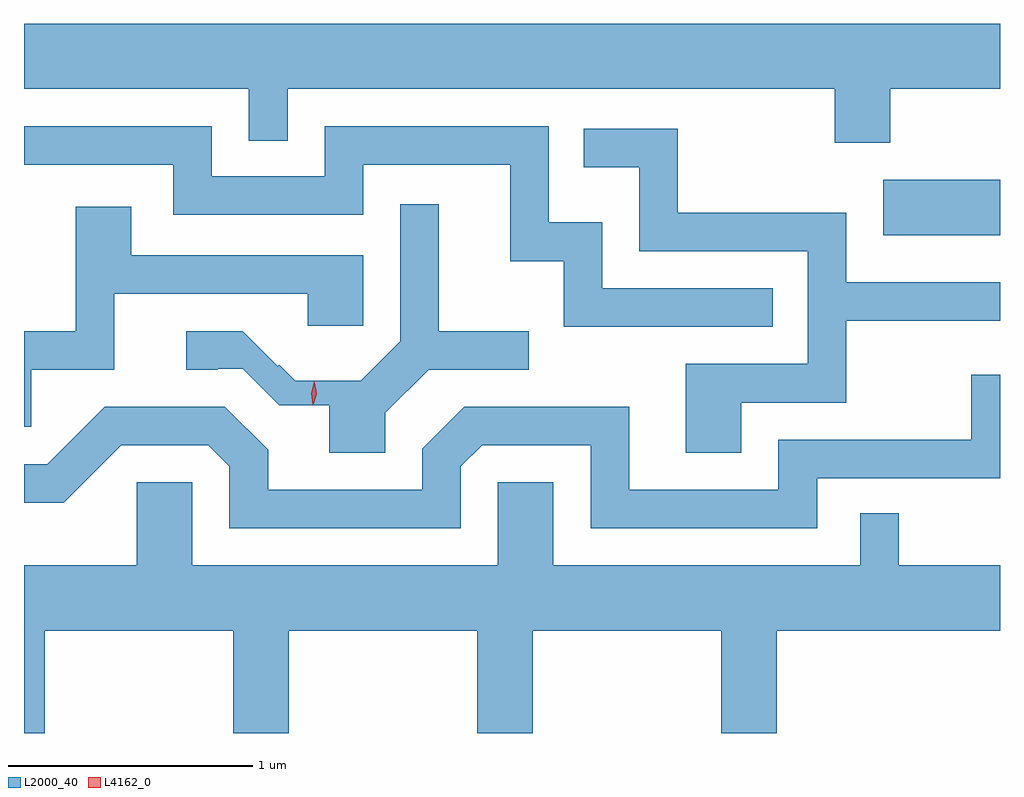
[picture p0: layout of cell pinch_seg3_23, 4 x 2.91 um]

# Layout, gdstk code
import gdstk
lib = gdstk.Library(unit=1e-6, precision=1e-09)
def R(c, l, rs):  # rectangles x0, y0, x1, y1
    for r in rs: c.add(gdstk.rectangle(r[:2], r[2:], *l))
def P(c, l, *ps):  # polygons
    for p in ps: c.add(gdstk.Polygon(p, *l))
L2000_40 = (2000, 40)
L4162_0 = (4162, 0)

pinch_seg3_23 = lib.new_cell('pinch_seg3_23')
R(pinch_seg3_23, L2000_40, [(1899.411,1200.896,1899.889,1201.124)])
P(pinch_seg3_23, L2000_40, [(1899.439,1201.496),(1899.889,1201.496),(1899.889,1201.764),(1895.889,1201.764),(1895.889,1201.496),(1896.811,1201.496),(1896.811,1201.283),(1896.969,1201.283),(1896.969,1201.496),(1899.211,1201.496),(1899.211,1201.276),(1899.439,1201.276)],
  [(1898.958,1200.679),(1898.259,1200.679),(1898.259,1200.949),(1898.039,1200.949),(1898.039,1201.344),(1897.121,1201.344),(1897.121,1201.139),(1896.659,1201.139),(1896.659,1201.344),(1895.889,1201.344),(1895.889,1201.186),(1896.501,1201.186),(1896.501,1200.981),(1897.279,1200.981),(1897.279,1201.186),(1897.881,1201.186),(1897.881,1200.791),(1898.101,1200.791),(1898.101,1200.521),(1898.958,1200.521)],
  [(1898.829,1200.211),(1899.259,1200.211),(1899.259,1200.546),(1899.889,1200.546),(1899.889,1200.704),(1899.259,1200.704),(1899.259,1200.989),(1898.569,1200.989),(1898.569,1201.334),(1898.183,1201.334),(1898.183,1201.176),(1898.411,1201.176),(1898.411,1200.831),(1899.101,1200.831),(1899.101,1200.369),(1898.601,1200.369),(1898.601,1200.006),(1898.829,1200.006)],
  [(1897.369,1200.169),(1897.547,1200.346),(1897.958,1200.346),(1897.958,1200.504),(1897.589,1200.504),(1897.589,1201.023),(1897.431,1201.023),(1897.431,1200.462),(1897.269,1200.3),(1897.001,1200.3),(1896.935,1200.366),(1896.929,1200.36),(1896.785,1200.504),(1896.553,1200.504),(1896.553,1200.346),(1896.683,1200.346),(1896.683,1200.35),(1896.785,1200.35),(1896.935,1200.2),(1897.141,1200.2),(1897.141,1200.006),(1897.369,1200.006)],
  [(1895.919,1200.346),(1896.259,1200.346),(1896.259,1200.656),(1897.051,1200.656),(1897.051,1200.526),(1897.279,1200.526),(1897.279,1200.814),(1896.329,1200.814),(1896.329,1201.014),(1896.101,1201.014),(1896.101,1200.504),(1895.889,1200.504),(1895.889,1200.111),(1895.919,1200.111)],
  [(1897.679,1199.949),(1897.767,1200.036),(1898.211,1200.036),(1898.211,1199.696),(1899.139,1199.696),(1899.139,1199.901),(1899.889,1199.901),(1899.889,1200.324),(1899.771,1200.324),(1899.771,1200.059),(1898.981,1200.059),(1898.981,1199.854),(1898.369,1199.854),(1898.369,1200.194),(1897.694,1200.194),(1897.521,1200.022),(1897.521,1199.854),(1896.889,1199.854),(1896.889,1200.017),(1896.712,1200.194),(1896.219,1200.194),(1895.984,1199.959),(1895.889,1199.959),(1895.889,1199.801),(1896.052,1199.801),(1896.287,1200.036),(1896.644,1200.036),(1896.731,1199.949),(1896.731,1199.696),(1897.679,1199.696)],
  [(1895.974,1199.276),(1896.746,1199.276),(1896.746,1198.855),(1896.974,1198.855),(1896.974,1199.276),(1897.746,1199.276),(1897.746,1198.855),(1897.974,1198.855),(1897.974,1199.276),(1898.746,1199.276),(1898.746,1198.855),(1898.974,1198.855),(1898.974,1199.276),(1899.889,1199.276),(1899.889,1199.544),(1899.474,1199.544),(1899.474,1199.758),(1899.316,1199.758),(1899.316,1199.544),(1898.059,1199.544),(1898.059,1199.884),(1897.831,1199.884),(1897.831,1199.544),(1896.579,1199.544),(1896.579,1199.884),(1896.351,1199.884),(1896.351,1199.544),(1895.889,1199.544),(1895.889,1198.855),(1895.974,1198.855)])
P(pinch_seg3_23, L4162_0, [(1897.073,1200.2),(1897.072,1200.201),(1897.066,1200.25),(1897.078,1200.297),(1897.079,1200.298),(1897.079,1200.297),(1897.086,1200.248),(1897.073,1200.201)],
  [(1897.076,1200.205),(1897.076,1200.206),(1897.068,1200.249),(1897.08,1200.292),(1897.08,1200.292),(1897.081,1200.292),(1897.088,1200.248),(1897.077,1200.206)])

lib.write_gds('pinch_seg3_23.gds')
